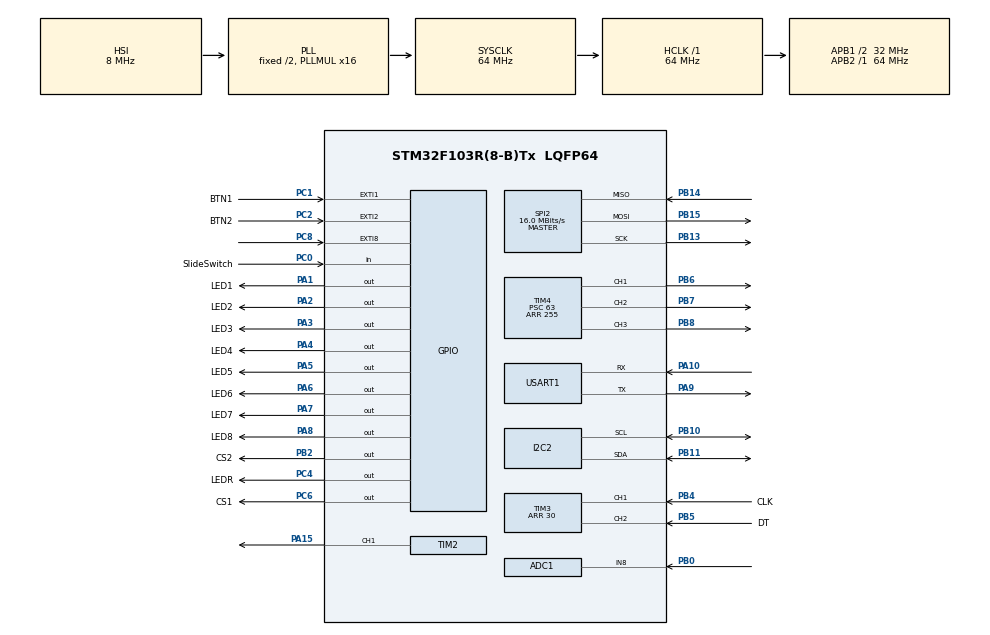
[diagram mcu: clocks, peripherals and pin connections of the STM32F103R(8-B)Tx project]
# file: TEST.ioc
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ADC1.Channel-2\#ChannelRegularConversion=ADC_CHANNEL_8
ADC1.ContinuousConvMode=ENABLE
ADC1.NbrOfConversionFlag=1
ADC1.Rank-2\#ChannelRegularConversion=1
ADC1.SamplingTime-2\#ChannelRegularConversion=ADC_SAMPLETIME_1CYCLE_5
ADC1.master=1
I2C2.DutyCycle=I2C_DUTYCYCLE_16_9
I2C2.I2C_Mode=I2C_Fast
Mcu.Family=STM32F1
Mcu.Name=STM32F103R(8-B)Tx
Mcu.Package=LQFP64
NVIC.EXTI1_IRQn=true\:0\:0\:false\:false\:true\:true\:true\:true
NVIC.EXTI2_IRQn=true\:0\:0\:false\:false\:true\:true\:true\:true
NVIC.PriorityGroup=NVIC_PRIORITYGROUP_4
PA1.GPIO_Label=LED1
PA1.GPIO_ModeDefaultOutputPP=GPIO_MODE_OUTPUT_PP
PA1.GPIO_PuPd=GPIO_NOPULL
PA1.PinState=GPIO_PIN_SET
PA1.Signal=GPIO_Output
PA10.Mode=Asynchronous
PA10.Signal=USART1_RX
PA13.Mode=Trace_Asynchronous_SW
PA13.Signal=SYS_JTMS-SWDIO
PA14.Mode=Trace_Asynchronous_SW
PA14.Signal=SYS_JTCK-SWCLK
PA15.Signal=S_TIM2_CH1_ETR
PA2.GPIO_Label=LED2
PA2.PinState=GPIO_PIN_SET
PA2.Signal=GPIO_Output
PA3.GPIO_Label=LED3
PA3.PinState=GPIO_PIN_SET
PA3.Signal=GPIO_Output
PA4.GPIO_Label=LED4
PA4.PinState=GPIO_PIN_SET
PA4.Signal=GPIO_Output
PA5.GPIO_Label=LED5
PA5.PinState=GPIO_PIN_SET
PA5.Signal=GPIO_Output
PA6.GPIO_Label=LED6
PA6.GPIO_Speed=GPIO_SPEED_FREQ_HIGH
PA6.PinState=GPIO_PIN_SET
PA6.Signal=GPIO_Output
PA7.GPIO_Label=LED7
PA7.PinState=GPIO_PIN_SET
PA7.Signal=GPIO_Output
PA8.GPIO_Label=LED8
PA8.PinState=GPIO_PIN_SET
PA8.Signal=GPIO_Output
PA9.Mode=Asynchronous
PA9.Signal=USART1_TX
PB0.Signal=ADCx_IN8
PB10.Mode=I2C
PB10.Signal=I2C2_SCL
PB11.Mode=I2C
PB11.Signal=I2C2_SDA
PB13.Mode=Full_Duplex_Master
PB13.Signal=SPI2_SCK
PB14.Mode=Full_Duplex_Master
PB14.Signal=SPI2_MISO
PB15.Mode=Full_Duplex_Master
PB15.Signal=SPI2_MOSI
PB2.GPIO_Label=CS2
PB2.GPIO_Speed=GPIO_SPEED_FREQ_MEDIUM
PB2.PinState=GPIO_PIN_RESET
PB2.Signal=GPIO_Output
PB3.Mode=Trace_Asynchronous_SW
PB3.Signal=SYS_JTDO-TRACESWO
PB4.GPIO_Label=CLK
PB4.Signal=S_TIM3_CH1
PB5.GPIO_Label=DT
PB5.Signal=S_TIM3_CH2
PB6.Signal=S_TIM4_CH1
PB7.Signal=S_TIM4_CH2
PB8.Signal=S_TIM4_CH3
PC0.GPIO_Label=SlideSwitch
PC0.Signal=GPIO_Input
PC1.GPIO_Label=BTN1
PC1.GPIO_ModeDefaultEXTI=GPIO_MODE_IT_RISING
PC1.GPIO_PuPd=GPIO_PULLUP
PC1.Signal=GPXTI1
PC2.GPIO_Label=BTN2
PC2.GPIO_PuPd=GPIO_PULLUP
PC2.Signal=GPXTI2
PC4.GPIO_Label=LEDR
PC4.Signal=GPIO_Output
PC6.GPIO_Label=CS1
PC6.GPIO_ModeDefaultOutputPP=GPIO_MODE_OUTPUT_PP
PC6.GPIO_PuPd=GPIO_NOPULL
PC6.GPIO_Speed=GPIO_SPEED_FREQ_MEDIUM
PC6.Signal=GPIO_Output
PC8.Signal=GPXTI8
ProjectManager.HeapSize=0x200
ProjectManager.StackSize=0x400
ProjectManager.TargetToolchain=STM32CubeIDE
RCC.ADCPresc=RCC_ADCPCLK2_DIV8
RCC.AHBFreq_Value=64000000
RCC.APB1CLKDivider=RCC_HCLK_DIV2
RCC.APB1Freq_Value=32000000
RCC.APB1TimFreq_Value=64000000
RCC.APB2Freq_Value=64000000
RCC.APB2TimFreq_Value=64000000
RCC.HCLKFreq_Value=64000000
RCC.PLLMUL=RCC_PLL_MUL16
RCC.SYSCLKFreq_VALUE=64000000
RCC.SYSCLKSource=RCC_SYSCLKSOURCE_PLLCLK
RCC.USBFreq_Value=64000000
SH.ADCx_IN8.0=ADC1_IN8,IN8
SH.S_TIM2_CH1_ETR.0=TIM2_CH1,PWM Generation1 CH1
SH.S_TIM3_CH1.0=TIM3_CH1,Encoder_Interface
SH.S_TIM3_CH2.0=TIM3_CH2,Encoder_Interface
SH.S_TIM4_CH1.0=TIM4_CH1,PWM Generation1 CH1
SH.S_TIM4_CH2.0=TIM4_CH2,PWM Generation2 CH2
SH.S_TIM4_CH3.0=TIM4_CH3,PWM Generation3 CH3
SPI2.BaudRatePrescaler=SPI_BAUDRATEPRESCALER_2
SPI2.CLKPhase=SPI_PHASE_1EDGE
SPI2.CLKPolarity=SPI_POLARITY_LOW
SPI2.CRCCalculation=SPI_CRCCALCULATION_DISABLE
SPI2.CalculateBaudRate=16.0 MBits/s
SPI2.DataSize=SPI_DATASIZE_8BIT
SPI2.Direction=SPI_DIRECTION_2LINES
SPI2.FirstBit=SPI_FIRSTBIT_MSB
SPI2.Mode=SPI_MODE_MASTER
SPI2.VirtualType=VM_MASTER
TIM2.Channel-PWM\ Generation1\ CH1=TIM_CHANNEL_1
TIM2.Period=249
TIM2.Prescaler=63
TIM3.Period=30
TIM4.Channel-PWM\ Generation1\ CH1=TIM_CHANNEL_1
TIM4.Channel-PWM\ Generation2\ CH2=TIM_CHANNEL_2
TIM4.Channel-PWM\ Generation3\ CH3=TIM_CHANNEL_3
TIM4.Period=255
TIM4.Prescaler=63
USART1.VirtualMode=VM_ASYNC
board=custom

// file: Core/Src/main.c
/* USER CODE BEGIN Header */
/**
  ******************************************************************************
  * @file           : main.c
  * @brief          : Main program body
  ******************************************************************************
  * @attention
  *
  * Copyright (c) 2025 STMicroelectronics.
  * All rights reserved.
  *
  * This software is licensed under terms that can be found in the LICENSE file
  * in the root directory of this software component.
  * If no LICENSE file comes with this software, it is provided AS-IS.
  *
  ******************************************************************************
  */
/* USER CODE END Header */
#include "main.h"

/* USER CODE BEGIN Includes */
#include <stdio.h>
#include <stdbool.h>
#include <stdlib.h>
#include "fonts.h"
#include "ssd1306.h"

/* USER CODE END Includes */

/* USER CODE BEGIN PTD */
#define OLED_ADDRESS 0x3C
/* USER CODE END PTD */

ADC_HandleTypeDef hadc1;

I2C_HandleTypeDef hi2c2;

SPI_HandleTypeDef hspi2;

TIM_HandleTypeDef htim2;
TIM_HandleTypeDef htim3;
TIM_HandleTypeDef htim4;

UART_HandleTypeDef huart1;

void SystemClock_Config(void);
static void MX_GPIO_Init(void);
static void MX_USART1_UART_Init(void);
static void MX_TIM2_Init(void);
static void MX_TIM4_Init(void);
static void MX_TIM3_Init(void);
static void MX_ADC1_Init(void);
static void MX_I2C2_Init(void);
static void MX_SPI2_Init(void);

/* USER CODE BEGIN 0 */

uint8_t Ledstatus;
//----------------------------------------------------------------------
// Send printf to uart1
int _write(int fd, char* ptr, int len) {
  HAL_StatusTypeDef hstatus;

  if (fd == 1 || fd == 2) {
    hstatus = HAL_UART_Transmit(&huart1, (uint8_t *) ptr, len, HAL_MAX_DELAY);
    if (hstatus == HAL_OK)
      return len;
    else
      return -1;
  }
  return -1;
}
//----------------------------------------------------------------------
GPIO_TypeDef* ports[] = {LED1_GPIO_Port, LED2_GPIO_Port, LED3_GPIO_Port, LED4_GPIO_Port,
                           LED5_GPIO_Port, LED6_GPIO_Port, LED7_GPIO_Port, LED8_GPIO_Port};
uint16_t pins[] = {LED1_Pin, LED2_Pin, LED3_Pin, LED4_Pin,
                     LED5_Pin, LED6_Pin, LED7_Pin, LED8_Pin};
//----------------------------------------------------------------------
uint8_t Ledstatus;
void prinLedStatus()
{

  for (int i = 0; i < 8; i++)
  {
	if (Ledstatus & (1 << i))
	{
		HAL_GPIO_WritePin(ports[i], pins[i], GPIO_PIN_SET);
	}else
	{
		HAL_GPIO_WritePin(ports[i], pins[i], GPIO_PIN_RESET);
	}
  }

}
//-----------------------------------------------------------------------------
void HandleButtons(uint16_t GPIO_Pin)
{
    if (Ledstatus == 0)
    {
        Ledstatus = 1;
    }
    if (GPIO_Pin == BTN1_Pin)
    {
        Ledstatus <<= 1;
        if (Ledstatus == 0) Ledstatus = 1;
    }
    else if (GPIO_Pin == BTN2_Pin)
    {
        Ledstatus >>= 1;
        if (Ledstatus == 0) Ledstatus = 0x80;
    }
}

//--------------------------------------------------------------------------
void HAL_GPIO_EXTI_Callback(uint16_t PGIO_Pin)
{
	HandleButtons(PGIO_Pin);
}
//--------------------------------------------------------------------------

void handlSlideSwitch()
{
	GPIO_PinState btnState = HAL_GPIO_ReadPin(SlideSwitch_GPIO_Port, SlideSwitch_Pin);
	if (btnState == GPIO_PIN_SET)
	{
		HAL_GPIO_WritePin(LEDR_GPIO_Port,LEDR_Pin, GPIO_PIN_SET);
	}
	else
	{
		HAL_GPIO_WritePin(LEDR_GPIO_Port,LEDR_Pin, GPIO_PIN_RESET);
	}
}

//--------------------------------------------------------------------------
void RGB_SetColor(uint8_t r, uint8_t g, uint8_t b) {
    __HAL_TIM_SET_COMPARE(&htim4, TIM_CHANNEL_1, r); // Красный
    __HAL_TIM_SET_COMPARE(&htim4, TIM_CHANNEL_2, g); // Зелёный
    __HAL_TIM_SET_COMPARE(&htim4, TIM_CHANNEL_3, b); // Синий
}
//---------------------------------------------------------------------------

void Buzzer_SetDuty(uint16_t duty) {
    if (duty > htim2.Init.Period) duty = htim2.Init.Period;
    __HAL_TIM_SET_COMPARE(&htim2, TIM_CHANNEL_1, duty);
}

//--------------------------------------------------------------------------
void handlSlideToBuzzer()
{
	GPIO_PinState btnState = HAL_GPIO_ReadPin(SlideSwitch_GPIO_Port, SlideSwitch_Pin);
	if (btnState == GPIO_PIN_SET)
	{
		 HAL_TIM_PWM_Start(&htim2, TIM_CHANNEL_1);
		 Buzzer_SetDuty( (htim2.Init.Period + 1) / 2 );
	}
	else
	{
		HAL_TIM_PWM_Stop(&htim2, TIM_CHANNEL_1);
	}
}

//-------------------------------------------------------------------------
int32_t encoder_value = 0;
uint8_t active_leds = 0;
const uint8_t led_sequence[8] = {1, 3, 7, 15, 31, 63, 127, 255};
uint16_t adc_value = 0;
//-------------------------------------------------------------------------

void UpdateEncoder()
{
	static uint16_t last_cnt = 0;
	    uint16_t curr_cnt = TIM3->CNT;
	    int16_t diff = curr_cnt - last_cnt;

	    // Обработка переполнения с ARR = 30
	    if(diff > 15) {
	        diff -= 30;
	    }
	    else if(diff < -15) {
	        diff += 30;
	    }

	    encoder_value += diff;
	    last_cnt = curr_cnt;

	    // Изменяем индекс только при значительном изменении положения
	    static int8_t accumulated_diff = 0;
	    accumulated_diff += diff;

	    if(accumulated_diff >= 4) { // Порог срабатывания +
	        if(active_leds < 7) active_leds++;
	        accumulated_diff = 0;
	    }
	    else if(accumulated_diff <= -4) { // Порог срабатывания -
	        if(active_leds > 0) active_leds--;
	        accumulated_diff = 0;
	    }

}

//-------------------------------------------------------------------------

int HandlAdctoLed(float value)
{
	int index = (int)(value / 0.5f); // шаг 0.5 В
	if(index > 7) index = 7;
	return led_sequence[index];
}

//-------------------------------------------------------------------------
/* Variables for AHT10 */
#define AHT10_ADDR         (0x38 << 1)
#define AHT10_INIT_CMD     0xE1
#define AHT10_MEASURE_CMD  0xAC
#define AHT10_DATA0        0x33
#define AHT10_DATA1        0x00

uint8_t AHT10_RX_Data[6];
uint32_t AHT10_ADC_Raw;
float AHT10_Temperature;
float AHT10_Humidity;

void AHT10_Init(void)
{
    uint8_t init_cmd[3] = {AHT10_INIT_CMD, 0x08, 0x00}; // 0x08 — калибровка
    HAL_I2C_Master_Transmit(&hi2c2, AHT10_ADDR, init_cmd, 3, 100);
    HAL_Delay(500);
}

void AHT10_ReadData(void)
{
    uint8_t measure_cmd[3] = {AHT10_MEASURE_CMD, AHT10_DATA0, AHT10_DATA1};

    HAL_I2C_Master_Transmit(&hi2c2, AHT10_ADDR, measure_cmd, 3, 100);
    HAL_Delay(100);

    HAL_I2C_Master_Receive(&hi2c2, AHT10_ADDR, AHT10_RX_Data, 6, 100);

    uint32_t hum_raw = ((uint32_t)(AHT10_RX_Data[1]) << 12) |
                       ((uint32_t)(AHT10_RX_Data[2]) << 4)  |
                       ((AHT10_RX_Data[3] & 0xF0) >> 4);

    AHT10_Humidity = ((float)hum_raw / 1048576.0f) * 100.0f;

    AHT10_ADC_Raw = ((uint32_t)(AHT10_RX_Data[3] & 0x0F) << 16) |
                    ((uint32_t)(AHT10_RX_Data[4]) << 8) |
                    (AHT10_RX_Data[5]);

    AHT10_Temperature = ((float)AHT10_ADC_Raw / 1048576.0f) * 200.0f - 50.0f;
}

//-------------------------------------------------------------------
uint16_t read_val = 0;
#define CMD_READ   0b10
#define CMD_WRITE  0b01
#define CMD_ERASE  0b11
#define CMD_EWEN   0b00
#define CMD_EWDS   0b00
#define CMD_ERAL   0b00
#define CMD_WRAL   0b00
#define EWEN_ADDR  0b110000
#define EWDS_ADDR  0b000000
#define ERAL_ADDR  0b100000
#define WRAL_ADDR  0b010000

// Timing constants (from datasheet)
#define T_CS_MIN_US    1    // Minimum CS low time (250ns, using 1us for safety)
#define T_WP_MAX_MS    5    // Maximum write cycle time

static SPI_HandleTypeDef *eeprom_spi = &hspi2;

// Chip Select control
static inline void EEPROM_CS_Enable(void) {
    HAL_GPIO_WritePin(CS1_GPIO_Port, CS1_Pin, GPIO_PIN_SET);
    HAL_Delay(T_CS_MIN_US);  // Meet tCS requirement
}

static inline void EEPROM_CS_Disable(void) {
    HAL_GPIO_WritePin(CS1_GPIO_Port, CS1_Pin, GPIO_PIN_RESET);
}

// Check Ready/Busy status (via DO pin)
static bool EEPROM_CheckReady(void) {
    uint8_t status;
    EEPROM_CS_Enable();
    HAL_SPI_Receive(eeprom_spi, &status, 1, HAL_MAX_DELAY);
    EEPROM_CS_Disable();
    return (status & 0x01);  // Ready when DO = 1
}

// Wait for write completion with timeout
static bool EEPROM_WaitReady(void) {
    uint32_t start = HAL_GetTick();
    while(!EEPROM_CheckReady()) {
        if(HAL_GetTick() - start > T_WP_MAX_MS) {
            return false;  // Timeout
        }
    }
    return true;
}

// Enable Write Operations
void EEPROM_EWEN(void) {
    uint16_t cmd = (1 << 8) | (CMD_EWEN << 6) | (EWEN_ADDR << 0);
    uint8_t buf[2] = {cmd >> 8, cmd & 0xFF};
    EEPROM_CS_Enable();
    HAL_SPI_Transmit(eeprom_spi, buf, 2, HAL_MAX_DELAY);
    EEPROM_CS_Disable();
}

// Disable Write Operations
void EEPROM_EWDS(void) {
    uint16_t cmd = (1 << 8) | (CMD_EWDS << 6) | (EWDS_ADDR << 0);
    uint8_t buf[2] = {cmd >> 8, cmd & 0xFF};
    EEPROM_CS_Enable();
    HAL_SPI_Transmit(eeprom_spi, buf, 2, HAL_MAX_DELAY);
    EEPROM_CS_Disable();
}

uint32_t received_data = 0x0AAABFF;

uint16_t extract_16bit_value(uint32_t raw_data) {
    // Shift right by 7 bits to remove trailing 1s, then mask 16 bits
    return (raw_data >> 7) & 0xFFFF;
}

// Read 16-bit word (with proper dummy bit handling)
uint16_t EEPROM_ReadWord(uint8_t address) {
	uint16_t cmd = (1 << 8) | (CMD_READ << 6) | (address & 0x3F);
	uint8_t tx[2] = {cmd >> 8, cmd & 0xFF};
	uint8_t rx[3] = {0};

	EEPROM_CS_Enable();
	HAL_SPI_Transmit(eeprom_spi, tx, 2, HAL_MAX_DELAY);
	HAL_SPI_Receive(eeprom_spi, rx, 3, HAL_MAX_DELAY);
	EEPROM_CS_Disable();

	// Combine all 24 bits received
	uint32_t raw_data = ((uint32_t)rx[0] << 16) | ((uint32_t)rx[1] << 8) | rx[2];

	// Extract correct 16 bits (bits 7-22)
	return (raw_data >> 7) & 0xFFFF;
}

// Write 16-bit word with full protocol
bool EEPROM_WriteWord(uint8_t address, uint16_t data) {
    // 1. Enable writes
    EEPROM_EWEN();

    // 2. Prepare write command + data
    uint16_t cmd = (1 << 8) | (CMD_WRITE << 6) | (address & 0x3F);
    uint8_t tx[4] = {cmd >> 8, cmd & 0xFF, data >> 8, data & 0xFF};

    // 3. Start write operation
    EEPROM_CS_Enable();
    HAL_SPI_Transmit(eeprom_spi, tx, 4, HAL_MAX_DELAY);

    // 4. Check status immediately (before CS goes high)
    uint8_t status;
    HAL_SPI_Receive(eeprom_spi, &status, 1, HAL_MAX_DELAY);
    EEPROM_CS_Disable();

    // 5. If we got status, wait for completion
    if(status & 0x01) {
        return true;  // Already done
    }

    // 6. Otherwise wait with timeout
    if(!EEPROM_WaitReady()) {
        return false;  // Write failed
    }

    // 7. Disable writes (recommended)
    EEPROM_EWDS();
    return true;
}

//---------------------------------------------------------------------

/* USER CODE END 0 */

int main(void)
{

  /* MCU Configuration--------------------------------------------------------*/

  /* Reset of all peripherals, Initializes the Flash interface and the Systick. */
  HAL_Init();

  /* Configure the system clock */
  SystemClock_Config();

  /* Initialize all configured peripherals */
  MX_GPIO_Init();
  MX_USART1_UART_Init();
  MX_TIM2_Init();
  MX_TIM4_Init();
  MX_TIM3_Init();
  MX_ADC1_Init();
  MX_I2C2_Init();
  MX_SPI2_Init();
  /* USER CODE BEGIN 2 */
  HAL_TIM_Encoder_Start(&htim3, TIM_CHANNEL_ALL);

  HAL_TIM_PWM_Start(&htim4, TIM_CHANNEL_1);
  HAL_TIM_PWM_Start(&htim4, TIM_CHANNEL_2);
  HAL_TIM_PWM_Start(&htim4, TIM_CHANNEL_3);
  HAL_ADC_Start(&hadc1);

  SSD1306_Init();

  SSD1306_GotoXY(0,0);
  SSD1306_Puts ("HELLO", &Font_7x10, 1);
  SSD1306_GotoXY(0,10);
  SSD1306_Puts ("WORLD", &Font_7x10, 1);
  SSD1306_UpdateScreen();

  AHT10_Init();

  /* USER CODE END 2 */

  /* Infinite loop */
  /* USER CODE BEGIN WHILE */

  uint16_t write_data = 0x5555;

  // Запись слова по адресу
  EEPROM_WriteWord(0x10, write_data);
  HAL_Delay(10);  // Подождём завершения операции

  // Чтение обратно
   read_val = EEPROM_ReadWord(0x010);

  Ledstatus = 0;
  while (1)
  {
	  UpdateEncoder();

	  // Управляем светодиодами в зависимости от положения энкодера
	  //Ledstatus = active_leds;
	  HAL_ADC_PollForConversion(&hadc1, HAL_MAX_DELAY);
	  adc_value = HAL_ADC_GetValue(&hadc1);

	  float voltage = (adc_value * 3.3f) / 4095.0f;

	  Ledstatus = HandlAdctoLed(voltage);
	  prinLedStatus();
	  handlSlideSwitch();
	  handlSlideToBuzzer();

	  char buf[20];
	  sprintf(buf, "VOLTAGE %.2f", voltage);

	  SSD1306_GotoXY(0, 20);
	  SSD1306_Puts(buf, &Font_7x10, 1);
	  SSD1306_UpdateScreen();

	  AHT10_ReadData();

	  char buf2[20];
	  sprintf(buf2, "Temperature %.2f", AHT10_Temperature);

	  SSD1306_GotoXY(0, 30);
	  SSD1306_Puts(buf2, &Font_7x10, 1);
	  SSD1306_UpdateScreen();

	  char buf3[20];
	  sprintf(buf3, "Humidity %.2f", AHT10_Humidity);

	  SSD1306_GotoXY(0, 40);
	  SSD1306_Puts(buf3, &Font_7x10, 1);
	  SSD1306_UpdateScreen();

	  char buf4[20];
	  if(read_val == write_data)
	  {
		  sprintf(buf4, "EEPROM OK");
	  }
	  else
	  {
		  sprintf(buf4, "EEPROM NOK");
	  }

	  SSD1306_GotoXY(0, 50);
	  SSD1306_Puts(buf4, &Font_7x10, 1);
	  SSD1306_UpdateScreen();

	/*  RGB_SetColor(255, 0, 0);   // Красный
	  HAL_Delay(500);
	  RGB_SetColor(0, 255, 0);   // Зелёный
	  HAL_Delay(500);
	  RGB_SetColor(0, 0, 255);   // Синий
	  HAL_Delay(500);
	  RGB_SetColor(255, 255, 255); // Белый
	  HAL_Delay(500);
	  RGB_SetColor(128, 0, 255);
	  HAL_Delay(500);*/

    /* USER CODE END WHILE */

  }
}

void SystemClock_Config(void)
{
  RCC_OscInitTypeDef RCC_OscInitStruct = {0};
  RCC_ClkInitTypeDef RCC_ClkInitStruct = {0};
  RCC_PeriphCLKInitTypeDef PeriphClkInit = {0};

  /** Initializes the RCC Oscillators according to the specified parameters
  * in the RCC_OscInitTypeDef structure.
  */
  RCC_OscInitStruct.OscillatorType = RCC_OSCILLATORTYPE_HSI;
  RCC_OscInitStruct.HSIState = RCC_HSI_ON;
  RCC_OscInitStruct.HSICalibrationValue = RCC_HSICALIBRATION_DEFAULT;
  RCC_OscInitStruct.PLL.PLLState = RCC_PLL_ON;
  RCC_OscInitStruct.PLL.PLLSource = RCC_PLLSOURCE_HSI_DIV2;
  RCC_OscInitStruct.PLL.PLLMUL = RCC_PLL_MUL16;
  if (HAL_RCC_OscConfig(&RCC_OscInitStruct) != HAL_OK)
  {
    Error_Handler();
  }

  /** Initializes the CPU, AHB and APB buses clocks
  */
  RCC_ClkInitStruct.ClockType = RCC_CLOCKTYPE_HCLK|RCC_CLOCKTYPE_SYSCLK
                              |RCC_CLOCKTYPE_PCLK1|RCC_CLOCKTYPE_PCLK2;
  RCC_ClkInitStruct.SYSCLKSource = RCC_SYSCLKSOURCE_PLLCLK;
  RCC_ClkInitStruct.AHBCLKDivider = RCC_SYSCLK_DIV1;
  RCC_ClkInitStruct.APB1CLKDivider = RCC_HCLK_DIV2;
  RCC_ClkInitStruct.APB2CLKDivider = RCC_HCLK_DIV1;

  if (HAL_RCC_ClockConfig(&RCC_ClkInitStruct, FLASH_LATENCY_2) != HAL_OK)
  {
    Error_Handler();
  }
  PeriphClkInit.PeriphClockSelection = RCC_PERIPHCLK_ADC;
  PeriphClkInit.AdcClockSelection = RCC_ADCPCLK2_DIV8;
  if (HAL_RCCEx_PeriphCLKConfig(&PeriphClkInit) != HAL_OK)
  {
    Error_Handler();
  }
}

static void MX_ADC1_Init(void)
{

  ADC_ChannelConfTypeDef sConfig = {0};

  /** Common config
  */
  hadc1.Instance = ADC1;
  hadc1.Init.ScanConvMode = ADC_SCAN_DISABLE;
  hadc1.Init.ContinuousConvMode = ENABLE;
  hadc1.Init.DiscontinuousConvMode = DISABLE;
  hadc1.Init.ExternalTrigConv = ADC_SOFTWARE_START;
  hadc1.Init.DataAlign = ADC_DATAALIGN_RIGHT;
  hadc1.Init.NbrOfConversion = 1;
  if (HAL_ADC_Init(&hadc1) != HAL_OK)
  {
    Error_Handler();
  }

  /** Configure Regular Channel
  */
  sConfig.Channel = ADC_CHANNEL_8;
  sConfig.Rank = ADC_REGULAR_RANK_1;
  sConfig.SamplingTime = ADC_SAMPLETIME_1CYCLE_5;
  if (HAL_ADC_ConfigChannel(&hadc1, &sConfig) != HAL_OK)
  {
    Error_Handler();
  }

}

static void MX_I2C2_Init(void)
{

  hi2c2.Instance = I2C2;
  hi2c2.Init.ClockSpeed = 400000;
  hi2c2.Init.DutyCycle = I2C_DUTYCYCLE_16_9;
  hi2c2.Init.OwnAddress1 = 0;
  hi2c2.Init.AddressingMode = I2C_ADDRESSINGMODE_7BIT;
  hi2c2.Init.DualAddressMode = I2C_DUALADDRESS_DISABLE;
  hi2c2.Init.OwnAddress2 = 0;
  hi2c2.Init.GeneralCallMode = I2C_GENERALCALL_DISABLE;
  hi2c2.Init.NoStretchMode = I2C_NOSTRETCH_DISABLE;
  if (HAL_I2C_Init(&hi2c2) != HAL_OK)
  {
    Error_Handler();
  }

}

static void MX_SPI2_Init(void)
{

  /* SPI2 parameter configuration*/
  hspi2.Instance = SPI2;
  hspi2.Init.Mode = SPI_MODE_MASTER;
  hspi2.Init.Direction = SPI_DIRECTION_2LINES;
  hspi2.Init.DataSize = SPI_DATASIZE_8BIT;
  hspi2.Init.CLKPolarity = SPI_POLARITY_LOW;
  hspi2.Init.CLKPhase = SPI_PHASE_1EDGE;
  hspi2.Init.NSS = SPI_NSS_SOFT;
  hspi2.Init.BaudRatePrescaler = SPI_BAUDRATEPRESCALER_2;
  hspi2.Init.FirstBit = SPI_FIRSTBIT_MSB;
  hspi2.Init.TIMode = SPI_TIMODE_DISABLE;
  hspi2.Init.CRCCalculation = SPI_CRCCALCULATION_DISABLE;
  hspi2.Init.CRCPolynomial = 10;
  if (HAL_SPI_Init(&hspi2) != HAL_OK)
  {
    Error_Handler();
  }

}

static void MX_TIM2_Init(void)
{

  TIM_MasterConfigTypeDef sMasterConfig = {0};
  TIM_OC_InitTypeDef sConfigOC = {0};

  htim2.Instance = TIM2;
  htim2.Init.Prescaler = 63;
  htim2.Init.CounterMode = TIM_COUNTERMODE_UP;
  htim2.Init.Period = 249;
  htim2.Init.ClockDivision = TIM_CLOCKDIVISION_DIV1;
  htim2.Init.AutoReloadPreload = TIM_AUTORELOAD_PRELOAD_DISABLE;
  if (HAL_TIM_PWM_Init(&htim2) != HAL_OK)
  {
    Error_Handler();
  }
  sMasterConfig.MasterOutputTrigger = TIM_TRGO_RESET;
  sMasterConfig.MasterSlaveMode = TIM_MASTERSLAVEMODE_DISABLE;
  if (HAL_TIMEx_MasterConfigSynchronization(&htim2, &sMasterConfig) != HAL_OK)
  {
    Error_Handler();
  }
  sConfigOC.OCMode = TIM_OCMODE_PWM1;
  sConfigOC.Pulse = 0;
  sConfigOC.OCPolarity = TIM_OCPOLARITY_HIGH;
  sConfigOC.OCFastMode = TIM_OCFAST_DISABLE;
  if (HAL_TIM_PWM_ConfigChannel(&htim2, &sConfigOC, TIM_CHANNEL_1) != HAL_OK)
  {
    Error_Handler();
  }
  HAL_TIM_MspPostInit(&htim2);

}

static void MX_TIM3_Init(void)
{

  TIM_Encoder_InitTypeDef sConfig = {0};
  TIM_MasterConfigTypeDef sMasterConfig = {0};

  htim3.Instance = TIM3;
  htim3.Init.Prescaler = 0;
  htim3.Init.CounterMode = TIM_COUNTERMODE_UP;
  htim3.Init.Period = 30;
  htim3.Init.ClockDivision = TIM_CLOCKDIVISION_DIV1;
  htim3.Init.AutoReloadPreload = TIM_AUTORELOAD_PRELOAD_DISABLE;
  sConfig.EncoderMode = TIM_ENCODERMODE_TI1;
  sConfig.IC1Polarity = TIM_ICPOLARITY_RISING;
  sConfig.IC1Selection = TIM_ICSELECTION_DIRECTTI;
  sConfig.IC1Prescaler = TIM_ICPSC_DIV1;
  sConfig.IC1Filter = 0;
  sConfig.IC2Polarity = TIM_ICPOLARITY_RISING;
  sConfig.IC2Selection = TIM_ICSELECTION_DIRECTTI;
  sConfig.IC2Prescaler = TIM_ICPSC_DIV1;
  sConfig.IC2Filter = 0;
  if (HAL_TIM_Encoder_Init(&htim3, &sConfig) != HAL_OK)
  {
    Error_Handler();
  }
  sMasterConfig.MasterOutputTrigger = TIM_TRGO_RESET;
  sMasterConfig.MasterSlaveMode = TIM_MASTERSLAVEMODE_DISABLE;
  if (HAL_TIMEx_MasterConfigSynchronization(&htim3, &sMasterConfig) != HAL_OK)
  {
    Error_Handler();
  }

}

static void MX_TIM4_Init(void)
{

  TIM_MasterConfigTypeDef sMasterConfig = {0};
  TIM_OC_InitTypeDef sConfigOC = {0};

  htim4.Instance = TIM4;
  htim4.Init.Prescaler = 63;
  htim4.Init.CounterMode = TIM_COUNTERMODE_UP;
  htim4.Init.Period = 255;
  htim4.Init.ClockDivision = TIM_CLOCKDIVISION_DIV1;
  htim4.Init.AutoReloadPreload = TIM_AUTORELOAD_PRELOAD_DISABLE;
  if (HAL_TIM_PWM_Init(&htim4) != HAL_OK)
  {
    Error_Handler();
  }
  sMasterConfig.MasterOutputTrigger = TIM_TRGO_RESET;
  sMasterConfig.MasterSlaveMode = TIM_MASTERSLAVEMODE_DISABLE;
  if (HAL_TIMEx_MasterConfigSynchronization(&htim4, &sMasterConfig) != HAL_OK)
  {
    Error_Handler();
  }
  sConfigOC.OCMode = TIM_OCMODE_PWM1;
  sConfigOC.Pulse = 0;
  sConfigOC.OCPolarity = TIM_OCPOLARITY_HIGH;
  sConfigOC.OCFastMode = TIM_OCFAST_DISABLE;
  if (HAL_TIM_PWM_ConfigChannel(&htim4, &sConfigOC, TIM_CHANNEL_1) != HAL_OK)
  {
    Error_Handler();
  }
  if (HAL_TIM_PWM_ConfigChannel(&htim4, &sConfigOC, TIM_CHANNEL_2) != HAL_OK)
  {
    Error_Handler();
  }
  if (HAL_TIM_PWM_ConfigChannel(&htim4, &sConfigOC, TIM_CHANNEL_3) != HAL_OK)
  {
    Error_Handler();
  }
  HAL_TIM_MspPostInit(&htim4);

}

static void MX_USART1_UART_Init(void)
{

  huart1.Instance = USART1;
  huart1.Init.BaudRate = 115200;
  huart1.Init.WordLength = UART_WORDLENGTH_8B;
  huart1.Init.StopBits = UART_STOPBITS_1;
  huart1.Init.Parity = UART_PARITY_NONE;
  huart1.Init.Mode = UART_MODE_TX_RX;
  huart1.Init.HwFlowCtl = UART_HWCONTROL_NONE;
  huart1.Init.OverSampling = UART_OVERSAMPLING_16;
  if (HAL_UART_Init(&huart1) != HAL_OK)
  {
    Error_Handler();
  }

}

static void MX_GPIO_Init(void)
{
  GPIO_InitTypeDef GPIO_InitStruct = {0};

  /* GPIO Ports Clock Enable */
  __HAL_RCC_GPIOC_CLK_ENABLE();
  __HAL_RCC_GPIOA_CLK_ENABLE();
  __HAL_RCC_GPIOB_CLK_ENABLE();

  /*Configure GPIO pin Output Level */
  HAL_GPIO_WritePin(GPIOA, LED1_Pin|LED2_Pin|LED3_Pin|LED4_Pin
                          |LED5_Pin|LED6_Pin|LED7_Pin|LED8_Pin, GPIO_PIN_SET);

  /*Configure GPIO pin Output Level */
  HAL_GPIO_WritePin(GPIOC, LEDR_Pin|CS1_Pin, GPIO_PIN_RESET);

  /*Configure GPIO pin Output Level */
  HAL_GPIO_WritePin(CS2_GPIO_Port, CS2_Pin, GPIO_PIN_RESET);

  /*Configure GPIO pin : SlideSwitch_Pin */
  GPIO_InitStruct.Pin = SlideSwitch_Pin;
  GPIO_InitStruct.Mode = GPIO_MODE_INPUT;
  GPIO_InitStruct.Pull = GPIO_NOPULL;
  HAL_GPIO_Init(SlideSwitch_GPIO_Port, &GPIO_InitStruct);

  /*Configure GPIO pins : BTN1_Pin BTN2_Pin */
  GPIO_InitStruct.Pin = BTN1_Pin|BTN2_Pin;
  GPIO_InitStruct.Mode = GPIO_MODE_IT_RISING;
  GPIO_InitStruct.Pull = GPIO_PULLUP;
  HAL_GPIO_Init(GPIOC, &GPIO_InitStruct);

  /*Configure GPIO pins : LED1_Pin LED2_Pin LED3_Pin LED4_Pin
                           LED5_Pin LED7_Pin LED8_Pin */
  GPIO_InitStruct.Pin = LED1_Pin|LED2_Pin|LED3_Pin|LED4_Pin
                          |LED5_Pin|LED7_Pin|LED8_Pin;
  GPIO_InitStruct.Mode = GPIO_MODE_OUTPUT_PP;
  GPIO_InitStruct.Pull = GPIO_NOPULL;
  GPIO_InitStruct.Speed = GPIO_SPEED_FREQ_LOW;
  HAL_GPIO_Init(GPIOA, &GPIO_InitStruct);

  /*Configure GPIO pin : LED6_Pin */
  GPIO_InitStruct.Pin = LED6_Pin;
  GPIO_InitStruct.Mode = GPIO_MODE_OUTPUT_PP;
  GPIO_InitStruct.Pull = GPIO_NOPULL;
  GPIO_InitStruct.Speed = GPIO_SPEED_FREQ_HIGH;
  HAL_GPIO_Init(LED6_GPIO_Port, &GPIO_InitStruct);

  /*Configure GPIO pin : LEDR_Pin */
  GPIO_InitStruct.Pin = LEDR_Pin;
  GPIO_InitStruct.Mode = GPIO_MODE_OUTPUT_PP;
  GPIO_InitStruct.Pull = GPIO_NOPULL;
  GPIO_InitStruct.Speed = GPIO_SPEED_FREQ_LOW;
  HAL_GPIO_Init(LEDR_GPIO_Port, &GPIO_InitStruct);

  /*Configure GPIO pin : CS2_Pin */
  GPIO_InitStruct.Pin = CS2_Pin;
  GPIO_InitStruct.Mode = GPIO_MODE_OUTPUT_PP;
  GPIO_InitStruct.Pull = GPIO_NOPULL;
  GPIO_InitStruct.Speed = GPIO_SPEED_FREQ_MEDIUM;
  HAL_GPIO_Init(CS2_GPIO_Port, &GPIO_InitStruct);

  /*Configure GPIO pin : CS1_Pin */
  GPIO_InitStruct.Pin = CS1_Pin;
  GPIO_InitStruct.Mode = GPIO_MODE_OUTPUT_PP;
  GPIO_InitStruct.Pull = GPIO_NOPULL;
  GPIO_InitStruct.Speed = GPIO_SPEED_FREQ_MEDIUM;
  HAL_GPIO_Init(CS1_GPIO_Port, &GPIO_InitStruct);

  /*Configure GPIO pin : PC8 */
  GPIO_InitStruct.Pin = GPIO_PIN_8;
  GPIO_InitStruct.Mode = GPIO_MODE_IT_RISING;
  GPIO_InitStruct.Pull = GPIO_NOPULL;
  HAL_GPIO_Init(GPIOC, &GPIO_InitStruct);

  /* EXTI interrupt init*/
  HAL_NVIC_SetPriority(EXTI1_IRQn, 0, 0);
  HAL_NVIC_EnableIRQ(EXTI1_IRQn);

  HAL_NVIC_SetPriority(EXTI2_IRQn, 0, 0);
  HAL_NVIC_EnableIRQ(EXTI2_IRQn);

}

void Error_Handler(void)
{
  __disable_irq();
  while (1)
  {
  }
}
